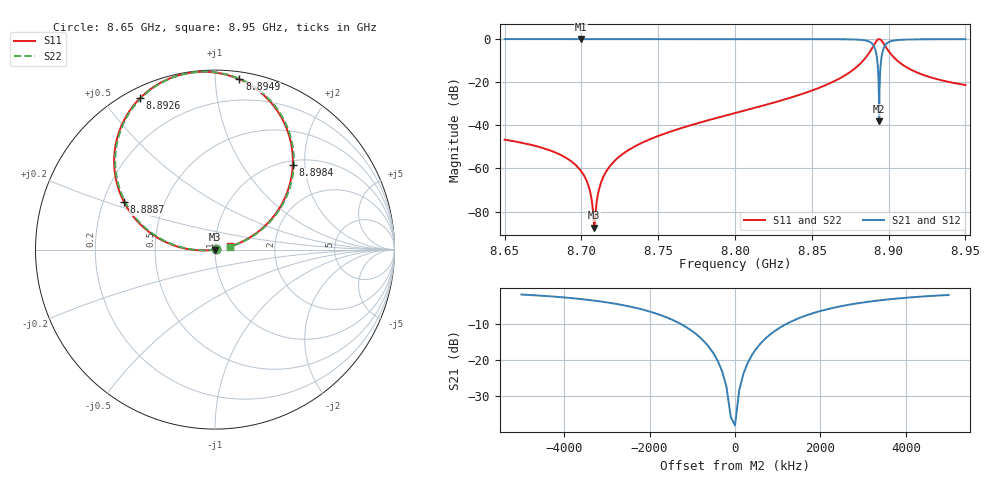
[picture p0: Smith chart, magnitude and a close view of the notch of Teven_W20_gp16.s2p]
! Sonnet Data File
! From: emgraph Version : 16.52
! From Project: transmon_trial
! Data is De-embedded
! Data File Written: 10/20/2017 09:13:07
!< HDATE 10/19/2017 20:03:37
!< MDATE 10/19/2017 20:10:25
!< PARAMS
!< Lj = 15.24
!< Gap = 16.0
!< Width = 20.0
!< Airgap = 12.0
!< Pwidth = 2000.0
!< END PARAMS
# GHZ S MA R 51.00000
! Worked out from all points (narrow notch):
!   3001 points, 8.65 GHz to 8.95 GHz, reference 51 ohm
!   highest |S21| = 0.00 dB at 8.6996 GHz (marker M1); lowest = -38.1 dB at 8.8939 GHz (marker M2)
!   notch at M2: 38.1 dB deep, 836 kHz wide at half that depth
!   lowest |S11| = -87.5 dB at 8.7084 GHz (marker M3), VSWR 1.00, Z = 51 - j0.00419 ohm
!   |S11| at or under -10 dB: start of sweep to 8.8834 GHz; 8.905655 GHz to end of sweep
!   |S22| runs from -86.0 to 0.0 dB; largest |S21 - S12| = 0
!   S11 on the Smith chart (normalised r, x): 8.65 GHz: 1.01, +0.00; 8.8887 GHz: 0.29, +0.23; 8.8926 GHz: 0.04, +0.62; 8.8949 GHz: 0.05, +1.15; 8.8984 GHz: 1.09, +1.73; 8.95 GHz: 1.18, +0.04
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8.65  0.004638 9.4  1 -80.4  1 -80.4  0.004638 9.9
!< P1 F=8.65 Eeff=(6.44623598 -2.9974e-5) Z0=(50.9069312 1.15726e-4) R=0.0 C=0.0
!< P2 F=8.65 Eeff=(6.44623598 -2.9974e-5) Z0=(50.9069312 1.15726e-4) R=0.0 C=0.0
8.6822  0.002408 8.5  1 -80.8  1 -80.8  0.002408 10.1
8.6996  0.000886 6.6  1 -81.0  1 -81.0  0.0008864 11.9
8.7  0.0008477 6.4  1 -81.0  1 -81.0  0.0008481 12.0
8.7042  0.0004365 3.7  1 -81.1  1 -81.1  0.0004373 15.1
8.7084  4.221e-05 -76.7  1 -81.2  1 -81.2  5.031e-05 95.0
8.7134  0.0005388 -166.5  1 -81.3  1 -81.3  0.0005396 -176.9
8.7198  0.001276 -169.1  1 -81.4  1 -81.4  0.001276 -174.0
8.75  0.00566 -171.1  1 -81.9  1 -81.9  0.00566 -172.7
8.8  0.01922 -172.7  0.9998 -83.1  0.9998 -83.1  0.01922 -173.6
8.85  0.06384 -175.8  0.9979 -86.2  0.9979 -86.2  0.06384 -176.6
8.8804  0.2463 173.2  0.9689 -97.0  0.9689 -97.0  0.2463 172.5
8.8887  0.5702 152.5  0.8195 -117.6  0.8195 -117.6  0.5702 151.8
8.8913  0.8157 132.4  0.5728 -137.5  0.5728 -137.5  0.8157 131.7
8.8926  0.9418 116.3  0.3229 -153.2  0.3229 -153.2  0.9418 115.6
8.8939  0.9951 96.8  0.01239 -16.3  0.01239 -16.3  0.9951 96.1
8.8949  0.9586 81.8  0.269 -9.5  0.269 -9.5  0.9586 81.1
8.8962  0.8448 65.5  0.5289 -25.3  0.5289 -25.3  0.8448 64.8
8.8984  0.6391 47.3  0.7667 -43.2  0.7667 -43.2  0.6391 46.7
8.9  0.5273 39.4  0.8482 -51.1  0.8482 -51.1  0.5273 38.7
8.9175  0.1739 17.2  0.9846 -73.1  0.9846 -73.1  0.1739 16.6
8.95  0.08596 11.8  0.9963 -78.5  0.9963 -78.5  0.08596 11.2
